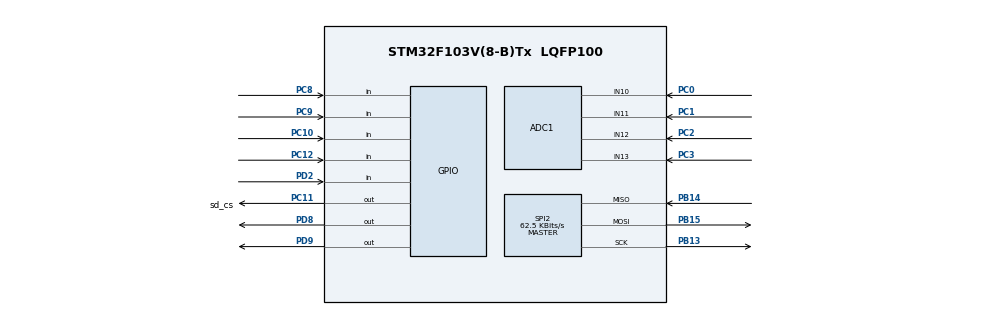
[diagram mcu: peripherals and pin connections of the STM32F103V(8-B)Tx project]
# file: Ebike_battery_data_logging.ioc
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ADC1.Channel-0\#ChannelRegularConversion=ADC_CHANNEL_10
ADC1.Channel-4\#ChannelRegularConversion=ADC_CHANNEL_11
ADC1.Channel-5\#ChannelRegularConversion=ADC_CHANNEL_12
ADC1.Channel-6\#ChannelRegularConversion=ADC_CHANNEL_13
ADC1.ContinuousConvMode=ENABLE
ADC1.DataAlign=ADC_DATAALIGN_LEFT
ADC1.NbrOfConversion=4
ADC1.NbrOfConversionFlag=1
ADC1.Rank-4\#ChannelRegularConversion=2
ADC1.Rank-5\#ChannelRegularConversion=3
ADC1.Rank-6\#ChannelRegularConversion=4
ADC1.SamplingTime-0\#ChannelRegularConversion=ADC_SAMPLETIME_71CYCLES_5
ADC1.SamplingTime-4\#ChannelRegularConversion=ADC_SAMPLETIME_71CYCLES_5
ADC1.SamplingTime-5\#ChannelRegularConversion=ADC_SAMPLETIME_71CYCLES_5
ADC1.SamplingTime-6\#ChannelRegularConversion=ADC_SAMPLETIME_71CYCLES_5
ADC1.master=1
Mcu.Family=STM32F1
Mcu.Name=STM32F103V(8-B)Tx
Mcu.Package=LQFP100
NVIC.PriorityGroup=NVIC_PRIORITYGROUP_4
PA13.Mode=Serial_Wire
PA13.Signal=SYS_JTMS-SWDIO
PA14.Mode=Serial_Wire
PA14.Signal=SYS_JTCK-SWCLK
PA3.Signal=EVENTOUT
PB13.Mode=Full_Duplex_Master
PB13.Signal=SPI2_SCK
PB14.Mode=Full_Duplex_Master
PB14.Signal=SPI2_MISO
PB15.Mode=Full_Duplex_Master
PB15.Signal=SPI2_MOSI
PC0.Signal=ADCx_IN10
PC1.Signal=ADCx_IN11
PC10.Signal=GPIO_Input
PC11.GPIO_Label=sd_cs
PC11.Signal=GPIO_Output
PC12.Signal=GPIO_Input
PC2.Signal=ADCx_IN12
PC3.Signal=ADCx_IN13
PC8.Signal=GPIO_Input
PC9.Signal=GPIO_Input
PD2.Signal=GPIO_Input
PD8.Signal=GPIO_Output
PD9.Signal=GPIO_Output
ProjectManager.HeapSize=0x200
ProjectManager.StackSize=0x400
ProjectManager.TargetToolchain=STM32CubeIDE
RCC.APB1Freq_Value=8000000
RCC.APB2Freq_Value=8000000
SH.ADCx_IN10.0=ADC1_IN10,IN10
SH.ADCx_IN11.0=ADC1_IN11,IN11
SH.ADCx_IN12.0=ADC1_IN12,IN12
SH.ADCx_IN13.0=ADC1_IN13,IN13
SPI2.BaudRatePrescaler=SPI_BAUDRATEPRESCALER_128
SPI2.CalculateBaudRate=62.5 KBits/s
SPI2.Direction=SPI_DIRECTION_2LINES
SPI2.Mode=SPI_MODE_MASTER
SPI2.VirtualType=VM_MASTER
VP_FATFS_VS_Generic.Mode=User_defined
board=custom

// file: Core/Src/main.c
/* USER CODE BEGIN Header */
/**
  ******************************************************************************
  * @file           : main.c
  * @brief          : Main program body
  ******************************************************************************
  * @attention
  *
  * Copyright (c) 2022 STMicroelectronics.
  * All rights reserved.
  *
  * This software is licensed under terms that can be found in the LICENSE file
  * in the root directory of this software component.
  * If no LICENSE file comes with this software, it is provided AS-IS.
  *
  ******************************************************************************
  */
/* USER CODE END Header */
#include "main.h"
#include "fatfs.h"

/* USER CODE BEGIN Includes */
#include <stdio.h>
#include <string.h>
#include <stdarg.h>

/* USER CODE END Includes */

ADC_HandleTypeDef hadc1;

SPI_HandleTypeDef hspi2;

void SystemClock_Config(void);
static void MX_GPIO_Init(void);
static void MX_ADC1_Init(void);
static void MX_SPI2_Init(void);
/* USER CODE BEGIN PFP */
void myprintf(const char *fmt, ...);
static void select_ch10(void);
static void select_ch11(void);
static void select_ch12(void);
static void select_ch13(void);

float MAP(float in_v,float Min_Ana_Val,float Max_Ana_Val,float Min_Dig_Val,float Max_Dig_Val);
/* USER CODE END PFP */

int main(void)
{

  /* MCU Configuration--------------------------------------------------------*/

  /* Reset of all peripherals, Initializes the Flash interface and the Systick. */
  HAL_Init();

  /* USER CODE BEGIN Init */
  uint32_t  Counter = 0;
  uint16_t  Ana_Vol = 0;
  uint16_t  Ana_Vol2 = 0;

  uint16_t  Vol = 0;
  uint16_t  Cur = 0;
  uint16_t  TempE = 0;
  uint16_t  TempI = 0;
  /* USER CODE END Init */

  /* Configure the system clock */
  SystemClock_Config();

  /* Initialize all configured peripherals */
  MX_GPIO_Init();
  MX_ADC1_Init();
  MX_SPI2_Init();
  MX_FATFS_Init();
  /* USER CODE BEGIN 2 */

  myprintf("\r\n~ SD card demo by kiwih ~\r\n\r\n");
  HAL_Delay(1000); //a short delay is important to let the SD card settle

  //some variables for FatFs
  FATFS FatFs; 	//Fatfs handle
  FIL fil; 		//File handle
  FRESULT fres; //Result after operations

	//Open the file system
  fres = f_mount(&FatFs, "", 1); //1=mount now
  if (fres != FR_OK) {
  myprintf("f_mount error (%i)\r\n", fres);
  Error_Handler();
  }

  //Let's get some statistics from the SD card
  DWORD free_clusters, free_sectors, total_sectors;

  FATFS* getFreeFs;

  fres = f_getfree("", &free_clusters, &getFreeFs);
  if (fres != FR_OK) {
  myprintf("f_getfree error (%i)\r\n", fres);
  Error_Handler();
  }

  //Formula comes from ChaN's documentation
  total_sectors = (getFreeFs->n_fatent - 2) * getFreeFs->csize;
  free_sectors = free_clusters * getFreeFs->csize;

  myprintf("SD card stats:\r\n%10lu KiB total drive space.\r\n%10lu KiB available.\r\n", total_sectors / 2, free_sectors / 2);

  BYTE WriteBuf[100];

    //open Data.csv file" FA_CREATE_ALWAYS,FA_OPEN_ALWAYS
  fres = f_open(&fil, "Data.csv", FA_WRITE | FA_CREATE_ALWAYS|FA_OPEN_ALWAYS);
  if(fres == FR_OK) {
  myprintf("I was able to open 'Data.csv' for writing\r\n");
  } else {
  myprintf("f_open error (%i)\r\n", fres);
  Error_Handler();
  }

  //(char*)WriteBuf
  sprintf(WriteBuf,"Counter,Voltage,Current,Bat Temp,Ambient Temp\r\n");
  UINT bytesWrote;
  fres = f_write(&fil, WriteBuf, 47, &bytesWrote);
  if(fres == FR_OK) {
  myprintf("Wrote %i bytes to 'write.txt'!\r\n", bytesWrote);
  } else {
  myprintf("f_write error (%i)\r\n");
  Error_Handler();
  }

  /* USER CODE END 2 */

  /* Infinite loop */
  /* USER CODE BEGIN WHILE */

  while (1)
  {

	//Read battery Voltage
	select_ch10();
	HAL_ADC_Start(&hadc1);
	HAL_ADC_PollForConversion(&hadc1, 1000);
	Ana_Vol = HAL_ADC_GetValue(&hadc1);
	Vol =(uint16_t)MAP(Ana_Vol, 22256, 34912, 20000, 30000);
	HAL_ADC_Stop(&hadc1);
	HAL_Delay(200);

	//Read battery Current
	select_ch11();
	HAL_ADC_Start(&hadc1);
	HAL_ADC_PollForConversion(&hadc1, 1000);
	Ana_Vol = HAL_ADC_GetValue(&hadc1)-12000;
	Cur = (uint16_t)MAP(Ana_Vol, 22320, 26144, 2000, 5000);
	HAL_ADC_Stop(&hadc1);
	HAL_Delay(200);

	//Read battery temperature
	select_ch11();
	HAL_ADC_Start(&hadc1);
	HAL_ADC_PollForConversion(&hadc1, 1000);
	Ana_Vol = HAL_ADC_GetValue(&hadc1);
	TempE =(uint16_t) MAP(Ana_Vol, 0, 16,  0, 1);
	HAL_ADC_Stop(&hadc1);
	HAL_Delay(200);

	//Read ambient temperature
	select_ch12();
	HAL_ADC_Start(&hadc1);
	HAL_ADC_PollForConversion(&hadc1, 1000);
	Ana_Vol = HAL_ADC_GetValue(&hadc1);
	TempI =(uint16_t) MAP(Ana_Vol, 0, 16,  0, 1);
	HAL_ADC_Stop(&hadc1);
	HAL_Delay(200);

	//Copy in a string
	//(char*)WriteBuf
	sprintf((char*)WriteBuf,"%05d,%05d,%05d,%05d,%05d\r\n",Counter,Vol,Cur,TempI,TempE);
	UINT bytesWrote;
	fres = f_write(&fil, WriteBuf, 30, &bytesWrote);
	if(fres == FR_OK) {
	myprintf("Wrote %i bytes to 'Data.csv'!\r\n", bytesWrote);
	} else {
	myprintf("f_write error (%i)\r\n");
	Error_Handler();
	}

    f_sync(&fil);
	Counter++;
	HAL_GPIO_TogglePin(GPIOD, GPIO_PIN_8);
	HAL_Delay(1000);

  }

  //Be a tidy kiwi - don't forget to close your file!
  f_close(&fil);

  //We're done, so de-mount the drive
  f_mount(NULL, "", 0);

  /* USER CODE END 3 */
}

void SystemClock_Config(void)
{
  RCC_OscInitTypeDef RCC_OscInitStruct = {0};
  RCC_ClkInitTypeDef RCC_ClkInitStruct = {0};
  RCC_PeriphCLKInitTypeDef PeriphClkInit = {0};

  /** Initializes the RCC Oscillators according to the specified parameters
  * in the RCC_OscInitTypeDef structure.
  */
  RCC_OscInitStruct.OscillatorType = RCC_OSCILLATORTYPE_HSI;
  RCC_OscInitStruct.HSIState = RCC_HSI_ON;
  RCC_OscInitStruct.HSICalibrationValue = RCC_HSICALIBRATION_DEFAULT;
  RCC_OscInitStruct.PLL.PLLState = RCC_PLL_NONE;
  if (HAL_RCC_OscConfig(&RCC_OscInitStruct) != HAL_OK)
  {
    Error_Handler();
  }

  /** Initializes the CPU, AHB and APB buses clocks
  */
  RCC_ClkInitStruct.ClockType = RCC_CLOCKTYPE_HCLK|RCC_CLOCKTYPE_SYSCLK
                              |RCC_CLOCKTYPE_PCLK1|RCC_CLOCKTYPE_PCLK2;
  RCC_ClkInitStruct.SYSCLKSource = RCC_SYSCLKSOURCE_HSI;
  RCC_ClkInitStruct.AHBCLKDivider = RCC_SYSCLK_DIV1;
  RCC_ClkInitStruct.APB1CLKDivider = RCC_HCLK_DIV1;
  RCC_ClkInitStruct.APB2CLKDivider = RCC_HCLK_DIV1;

  if (HAL_RCC_ClockConfig(&RCC_ClkInitStruct, FLASH_LATENCY_0) != HAL_OK)
  {
    Error_Handler();
  }
  PeriphClkInit.PeriphClockSelection = RCC_PERIPHCLK_ADC;
  PeriphClkInit.AdcClockSelection = RCC_ADCPCLK2_DIV2;
  if (HAL_RCCEx_PeriphCLKConfig(&PeriphClkInit) != HAL_OK)
  {
    Error_Handler();
  }
}

static void MX_ADC1_Init(void)
{

  ADC_ChannelConfTypeDef sConfig = {0};

  /** Common config
  */
  hadc1.Instance = ADC1;
  hadc1.Init.ScanConvMode = ADC_SCAN_ENABLE;
  hadc1.Init.ContinuousConvMode = ENABLE;
  hadc1.Init.DiscontinuousConvMode = DISABLE;
  hadc1.Init.ExternalTrigConv = ADC_SOFTWARE_START;
  hadc1.Init.DataAlign = ADC_DATAALIGN_LEFT;
  hadc1.Init.NbrOfConversion = 1;
  if (HAL_ADC_Init(&hadc1) != HAL_OK)
  {
    Error_Handler();
  }

  /** Configure Regular Channel
  */
  sConfig.Channel = ADC_CHANNEL_10;
  sConfig.Rank = ADC_REGULAR_RANK_1;
  sConfig.SamplingTime = ADC_SAMPLETIME_71CYCLES_5;
  if (HAL_ADC_ConfigChannel(&hadc1, &sConfig) != HAL_OK)
  {
    Error_Handler();
  }

  /** Configure Regular Channel
  */
  sConfig.Channel = ADC_CHANNEL_11;
  sConfig.Rank = ADC_REGULAR_RANK_2;
  if (HAL_ADC_ConfigChannel(&hadc1, &sConfig) != HAL_OK)
  {
    Error_Handler();
  }

  /** Configure Regular Channel
  */
  sConfig.Channel = ADC_CHANNEL_12;
  sConfig.Rank = ADC_REGULAR_RANK_3;
  if (HAL_ADC_ConfigChannel(&hadc1, &sConfig) != HAL_OK)
  {
    Error_Handler();
  }

  /** Configure Regular Channel
  */
  sConfig.Channel = ADC_CHANNEL_13;
  sConfig.Rank = ADC_REGULAR_RANK_4;
  if (HAL_ADC_ConfigChannel(&hadc1, &sConfig) != HAL_OK)
  {
    Error_Handler();
  }

}

static void MX_SPI2_Init(void)
{

  /* SPI2 parameter configuration*/
  hspi2.Instance = SPI2;
  hspi2.Init.Mode = SPI_MODE_MASTER;
  hspi2.Init.Direction = SPI_DIRECTION_2LINES;
  hspi2.Init.DataSize = SPI_DATASIZE_8BIT;
  hspi2.Init.CLKPolarity = SPI_POLARITY_LOW;
  hspi2.Init.CLKPhase = SPI_PHASE_1EDGE;
  hspi2.Init.NSS = SPI_NSS_SOFT;
  hspi2.Init.BaudRatePrescaler = SPI_BAUDRATEPRESCALER_128;
  hspi2.Init.FirstBit = SPI_FIRSTBIT_MSB;
  hspi2.Init.TIMode = SPI_TIMODE_DISABLE;
  hspi2.Init.CRCCalculation = SPI_CRCCALCULATION_DISABLE;
  hspi2.Init.CRCPolynomial = 10;
  if (HAL_SPI_Init(&hspi2) != HAL_OK)
  {
    Error_Handler();
  }

}

static void MX_GPIO_Init(void)
{
  GPIO_InitTypeDef GPIO_InitStruct = {0};

  /* GPIO Ports Clock Enable */
  __HAL_RCC_GPIOC_CLK_ENABLE();
  __HAL_RCC_GPIOA_CLK_ENABLE();
  __HAL_RCC_GPIOB_CLK_ENABLE();
  __HAL_RCC_GPIOD_CLK_ENABLE();

  /*Configure GPIO pin Output Level */
  HAL_GPIO_WritePin(GPIOD, GPIO_PIN_8|GPIO_PIN_9, GPIO_PIN_RESET);

  /*Configure GPIO pin Output Level */
  HAL_GPIO_WritePin(sd_cs_GPIO_Port, sd_cs_Pin, GPIO_PIN_RESET);

  /*Configure GPIO pin : PA3 */
  GPIO_InitStruct.Pin = GPIO_PIN_3;
  GPIO_InitStruct.Mode = GPIO_MODE_AF_PP;
  GPIO_InitStruct.Speed = GPIO_SPEED_FREQ_LOW;
  HAL_GPIO_Init(GPIOA, &GPIO_InitStruct);

  /*Configure GPIO pins : PD8 PD9 */
  GPIO_InitStruct.Pin = GPIO_PIN_8|GPIO_PIN_9;
  GPIO_InitStruct.Mode = GPIO_MODE_OUTPUT_PP;
  GPIO_InitStruct.Pull = GPIO_NOPULL;
  GPIO_InitStruct.Speed = GPIO_SPEED_FREQ_LOW;
  HAL_GPIO_Init(GPIOD, &GPIO_InitStruct);

  /*Configure GPIO pins : PC8 PC9 PC10 PC12 */
  GPIO_InitStruct.Pin = GPIO_PIN_8|GPIO_PIN_9|GPIO_PIN_10|GPIO_PIN_12;
  GPIO_InitStruct.Mode = GPIO_MODE_INPUT;
  GPIO_InitStruct.Pull = GPIO_NOPULL;
  HAL_GPIO_Init(GPIOC, &GPIO_InitStruct);

  /*Configure GPIO pin : sd_cs_Pin */
  GPIO_InitStruct.Pin = sd_cs_Pin;
  GPIO_InitStruct.Mode = GPIO_MODE_OUTPUT_PP;
  GPIO_InitStruct.Pull = GPIO_NOPULL;
  GPIO_InitStruct.Speed = GPIO_SPEED_FREQ_LOW;
  HAL_GPIO_Init(sd_cs_GPIO_Port, &GPIO_InitStruct);

  /*Configure GPIO pin : PD2 */
  GPIO_InitStruct.Pin = GPIO_PIN_2;
  GPIO_InitStruct.Mode = GPIO_MODE_INPUT;
  GPIO_InitStruct.Pull = GPIO_NOPULL;
  HAL_GPIO_Init(GPIOD, &GPIO_InitStruct);

  /*Configures the port and pin on which the EVENTOUT Cortex signal will be connected */
  HAL_GPIOEx_ConfigEventout(AFIO_EVENTOUT_PORT_A, AFIO_EVENTOUT_PIN_3);

  /*Enables the Event Output */
  HAL_GPIOEx_EnableEventout();

}

/* USER CODE BEGIN 4 */
float MAP(float in_v,float Min_Ana_Val,float Max_Ana_Val,float Min_Dig_Val,float Max_Dig_Val)
{
	return (((in_v - Min_Ana_Val)*(Max_Dig_Val - Min_Dig_Val))/(Max_Ana_Val - Min_Ana_Val))+ Min_Dig_Val;
}

static void select_ch10(void)
{
	ADC_ChannelConfTypeDef sConfig = {0};
	sConfig.Channel = ADC_CHANNEL_10;
	sConfig.Rank = ADC_REGULAR_RANK_1;
	sConfig.SamplingTime = ADC_SAMPLETIME_1CYCLE_5;
	if (HAL_ADC_ConfigChannel(&hadc1, &sConfig) != HAL_OK)
	{
	Error_Handler();
	}
}

static void select_ch11(void)
{
	ADC_ChannelConfTypeDef sConfig = {0};
	sConfig.Channel = ADC_CHANNEL_11;
	sConfig.Rank = ADC_REGULAR_RANK_1;
	if (HAL_ADC_ConfigChannel(&hadc1, &sConfig) != HAL_OK)
	{
	Error_Handler();
	}
}
static void select_ch12(void)
{
	ADC_ChannelConfTypeDef sConfig = {0};
	  sConfig.Channel = ADC_CHANNEL_12;
	  sConfig.Rank = ADC_REGULAR_RANK_1;
	  if (HAL_ADC_ConfigChannel(&hadc1, &sConfig) != HAL_OK)
	  {
	    Error_Handler();
	  }

}

static void select_ch13(void)
{
	ADC_ChannelConfTypeDef sConfig = {0};

	  /** Configure Regular Channel
	  */
	  sConfig.Channel = ADC_CHANNEL_13;
	  sConfig.Rank = ADC_REGULAR_RANK_1;
	  if (HAL_ADC_ConfigChannel(&hadc1, &sConfig) != HAL_OK)
	  {
	    Error_Handler();
	  }
}

void myprintf(const char *fmt, ...) {
  static char buffer[256];
  va_list args;
  va_start(args, fmt);
  vsnprintf(buffer, sizeof(buffer), fmt, args);
  va_end(args);

  int len = strlen(buffer);
  //HAL_UART_Transmit(&huart2, (uint8_t*)buffer, len, -1);

}
/* USER CODE END 4 */

void Error_Handler(void)
{
  /* USER CODE BEGIN Error_Handler_Debug */
	HAL_GPIO_WritePin(GPIOD, GPIO_PIN_9,GPIO_PIN_SET);
  /* User can add his own implementation to report the HAL error return state */
  __disable_irq();
  while (1)
  {
  }
  /* USER CODE END Error_Handler_Debug */
}
